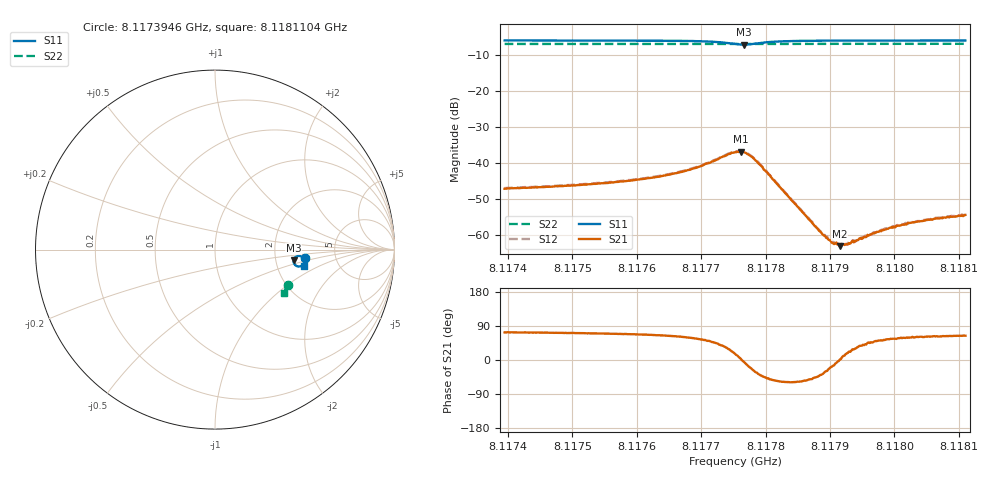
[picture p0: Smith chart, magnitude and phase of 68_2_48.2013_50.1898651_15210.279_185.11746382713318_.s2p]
#  HZ  S  RI  R  50.00
! Rohde & Schwarz Vector Network Analyzer
! Rohde-Schwarz,ZNB20-2Port,1311601062101988,3.16
! Created: UTC 3/20/2024, 11:39:03 AM
! freq[Hz]  re:S11  im:S11  re:S21  im:S21  re:S12  im:S12  re:S22  im:S22
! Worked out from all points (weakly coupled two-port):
!   401 points, 8.1173946 GHz to 8.1181104 GHz, reference 50 ohm
!   highest |S21| = -36.84 dB at 8.1177615 GHz (marker M1); lowest = -63.1 dB at 8.1179153 GHz (marker M2)
!   lowest |S11| = -7.1 dB at 8.1177668 GHz (marker M3), VSWR 2.59, Z = 126 - j18.6 ohm
!   |S11| at or under -10 dB: nowhere
!   |S22| runs from -6.9 to -6.9 dB; largest |S21 - S12| = 0.00045
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8.11739464e9  0.5032 -0.0486  0.00129 0.00419  0.00136 0.00427  0.4075 -0.1953
8.11751453e9  0.5012 -0.0599  0.00161 0.00471  0.00168 0.00479  0.4041 -0.203
8.11757358e9  0.4995 -0.0667  0.00198 0.00516  0.00206 0.00518  0.4023 -0.2068
8.11763442e9  0.4962 -0.0752  0.00269 0.00587  0.00282 0.00597  0.4003 -0.2109
8.11768989e9  0.488 -0.0864  0.0046 0.00712  0.00477 0.00722  0.3982 -0.2146
8.11775251e9  0.4439 -0.0828  0.0136 0.00397  0.0138 0.00382  0.3944 -0.2174
8.11776146e9  0.4379 -0.0691  0.0144 0.000849  0.0146 0.000638  0.3941 -0.2174
8.11776683e9  0.4381 -0.0593  0.014 -0.00139  0.0142 -0.00158  0.394 -0.2173
8.11777757e9  0.4471 -0.0429  0.0115 -0.00464  0.0116 -0.00496  0.3943 -0.2174
8.11778651e9  0.459 -0.0362  0.00879 -0.00581  0.00875 -0.00604  0.3947 -0.2178
8.11781872e9  0.487 -0.0424  0.00282 -0.00415  0.00286 -0.00424  0.3948 -0.2202
8.1178724e9  0.4972 -0.0589  0.000944 -0.00113  0.000977 -0.00117  0.3934 -0.2243
8.1178903e9  0.4981 -0.0628  0.000811 -0.000559  0.000818 -0.000577  0.3929 -0.2255
8.11790282e9  0.4985 -0.065  0.000741 -0.000237  0.000796 -0.000281  0.3926 -0.2265
8.11790819e9  0.4985 -0.0658  0.000747 -0.000127  0.000757 -0.000121  0.3923 -0.2267
8.11791535e9  0.4986 -0.0672  0.000697 1.44e-05  0.000719 1.35e-05  0.3921 -0.2272
8.11792966e9  0.4987 -0.0695  0.000713 0.000291  0.0007 0.00028  0.3917 -0.2282
8.11795829e9  0.4988 -0.0732  0.000708 0.000711  0.000732 0.000688  0.3908 -0.2299
8.11799229e9  0.4985 -0.0774  0.000725 0.00102  0.000738 0.00104  0.3895 -0.2322
8.1180245e9  0.4983 -0.0809  0.000754 0.00126  0.000776 0.00129  0.3885 -0.2341
8.11806208e9  0.4979 -0.0845  0.000762 0.0015  0.000798 0.0015  0.3871 -0.2365
8.11811039e9  0.4971 -0.0892  0.000826 0.0017  0.000808 0.00171  0.3857 -0.2396
